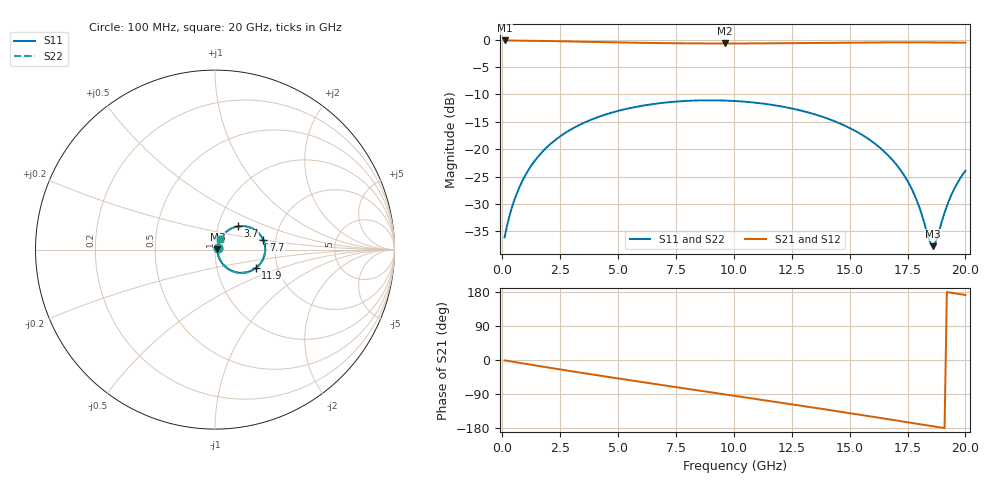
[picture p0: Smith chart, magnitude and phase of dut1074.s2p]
! Touchstone file exported from HFSS 2026.1.0
!  File:  C:/ffzhzh/LocalFiles/Ansys_Project_Files/temp_train_TSV_RDL_1074_1783299666_30076.aedt
!  Generated:  09:11:51 AM Jul  6, 2026
!  Design:  TSV_RDL
!  Project:  temp_train_TSV_RDL_1074_1783299666_30076
! Variables:
!  h_bsmrdl = 5.34um
!  h_ox = 20um
!  h_rdl = 5um
!  h_sub = 80.83um
!  h_tmrdl = 3.48um
!  h_tsv = 80.83um
!  h_via = 3um
!  l_bsmrdl = 707.03um
!  l_sub = 3072.39um
!  l_tmrdl = 102.83um
!  m_sub = 200um
!  pitch = 35.38um
!  r_tsv = 3.39um
!  s_tmrdl = 10um
!  w_bsmrdl = 25.76um
!  w_sub = 500um
!  w_tmrdl = 20.9um
!  x_tsv_center1 = 113.28um
!  x_tsv_center2 = 846.07um
!  x_tsv_center3 = 969.8um
!  x_tsv_center4 = 1702.59um
!  x_tsv_center5 = 1826.32um
!  x_tsv_center6 = 2559.11um
# GHz S MA R 50.000000
! Terminal data exported
! Port[1] = TM_RDL1_1_T1
! Port[2] = TM_RDL5_1_T1
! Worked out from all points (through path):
!   200 points, 100 MHz to 20 GHz, reference 50 ohm
!   highest |S21| = -0.12 dB at 100 MHz (marker M1); lowest = -0.7 dB at 9.6 GHz (marker M2)
!   group delay of S21, straight-line fit = 25.8 ps
!   lowest |S11| = -37.7 dB at 18.6 GHz (marker M3), VSWR 1.03, Z = 51.3 + j0.0603 ohm
!   |S11| at or under -10 dB: start of sweep to end of sweep
!   |S22| runs from -37.6 to -11.1 dB; largest |S21 - S12| = 1.2e-13
!   S11 on the Smith chart (normalised r, x): 100 MHz: 1.03, +0.01; 3.7 GHz: 1.24, +0.33; 7.7 GHz: 1.72, +0.20; 11.9 GHz: 1.54, -0.34; 20 GHz: 1.05, +0.12
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0.1  0.01566 24.6  0.9859 -1.1  0.9859 -1.1  0.01566 24.6
! Gamma 0 0 0 0
! Port Impedance 50 0 50 0
0.3  0.02411 45.9  0.984 -3.1  0.984 -3.1  0.02411 45.9
0.6  0.03804 57.5  0.9823 -6.1  0.9823 -6.1  0.03804 57.5
1.3  0.07316 62.3  0.9788 -13.1  0.9788 -13.1  0.07316 62.3
2.2  0.1173 57.8  0.9722 -22.0  0.9722 -22.0  0.1173 57.8
3.5  0.1732 47.4  0.96 -34.6  0.96 -34.6  0.1732 47.4
3.7  0.1809 45.6  0.9581 -36.5  0.9581 -36.5  0.1809 45.7
6.8  0.2632 18.9  0.9328 -65.2  0.9328 -65.2  0.2632 18.9
7.7  0.2742 11.2  0.9284 -73.3  0.9284 -73.3  0.2742 11.3
9.6  0.2783 -4.9  0.9249 -90.4  0.9249 -90.4  0.2783 -4.9
10.1  0.2751 -9.2  0.9252 -94.9  0.9252 -94.9  0.2751 -9.1
11.9  0.2491 -24.5  0.9295 -111.3  0.9295 -111.3  0.2491 -24.5
13.4  0.2111 -37.3  0.9357 -125.2  0.9357 -125.2  0.2111 -37.2
15.3  0.1447 -53.0  0.9434 -143.1  0.9434 -143.1  0.1447 -52.9
16.7  0.0863 -62.4  0.9468 -156.6  0.9468 -156.6  0.08632 -62.3
17.7  0.04256 -62.7  0.9472 -166.2  0.9472 -166.2  0.04262 -62.3
18  0.02988 -57.5  0.9469 -169.1  0.9469 -169.1  0.02997 -57.0
18.5  0.01364 -15.8  0.9461 -174.0  0.9461 -174.0  0.01387 -15.4
18.6  0.01299 2.6  0.9459 -174.9  0.9459 -174.9  0.01323 2.7
18.7  0.01386 20.7  0.9457 -175.9  0.9457 -175.9  0.01409 20.4
19.4  0.03838 63.9  0.9436 177.3  0.9436 177.3  0.03848 63.6
20  0.06347 66.3  0.9411 171.6  0.9411 171.6  0.06354 66.1
